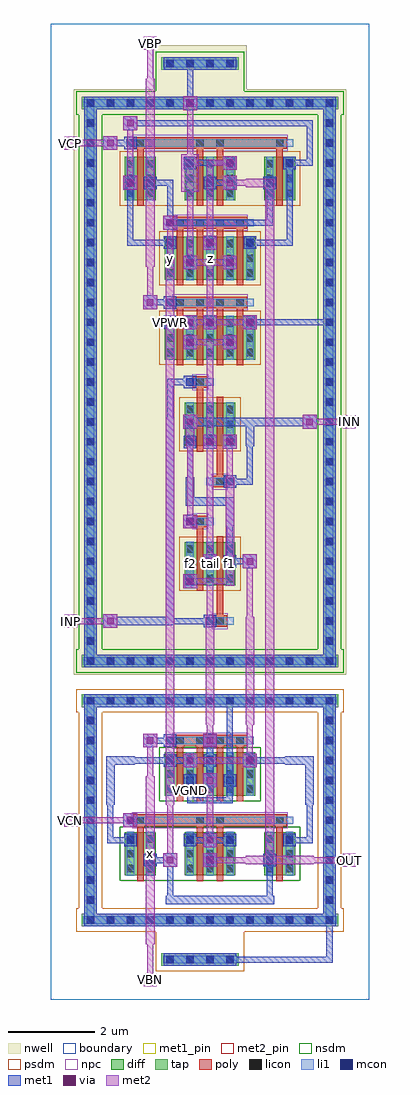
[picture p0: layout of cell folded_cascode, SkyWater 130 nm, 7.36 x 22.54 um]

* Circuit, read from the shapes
.subckt folded_cascode INN INP OUT VBN VBP VCN VCP VGND VPWR f1 f2 tail x y z
XM1 x VCN f1 VGND sky130_fd_pr__nfet_01v8 w=1 l=0.15 m=2
XM2 VGND VBN f1 VGND sky130_fd_pr__nfet_01v8 w=1 l=0.15 m=2
XM3 OUT VCN f2 VGND sky130_fd_pr__nfet_01v8 w=1 l=0.15 m=2
XM4 f2 VBN VGND VGND sky130_fd_pr__nfet_01v8 w=1 l=0.15 m=2
XM5 x VCP y VPWR sky130_fd_pr__pfet_01v8 w=1 l=0.15 m=2
XM6 tail VBP VPWR VPWR sky130_fd_pr__pfet_01v8 w=1 l=0.15 m=4
XM7 VPWR x y VPWR sky130_fd_pr__pfet_01v8 w=1 l=0.15 m=2
XM8 tail INN f2 VPWR sky130_fd_pr__pfet_01v8 w=1 l=0.15 m=2
XM9 tail INP f1 VPWR sky130_fd_pr__pfet_01v8 w=1 l=0.15 m=2
XM10 z x VPWR VPWR sky130_fd_pr__pfet_01v8 w=1 l=0.15 m=2
XM11 OUT VCP z VPWR sky130_fd_pr__pfet_01v8 w=1 l=0.15 m=2
.ends

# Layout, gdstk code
import gdstk
lib = gdstk.Library(unit=1e-6, precision=1e-09)
def R(c, l, rs):  # rectangles x0, y0, x1, y1
    for r in rs: c.add(gdstk.rectangle(r[:2], r[2:], *l))
def A(c, l, x, y, w, h, nx, ny, dx, dy):  # array of equal rectangles
    R(c, l, [(x+i*dx, y+j*dy, x+i*dx+w, y+j*dy+h) for i in range(nx) for j in range(ny)])
nwell = (64, 20)
diff = (65, 20)
tap = (65, 44)
poly = (66, 20)
licon = (66, 44)
li1 = (67, 20)
mcon = (67, 44)
met1_pin = (68, 16)
met1 = (68, 20)
via = (68, 44)
met2_pin = (69, 16)
met2 = (69, 20)
nsdm = (93, 44)
psdm = (94, 20)
npc = (95, 20)
boundary = (235, 4)

folded_cascode = lib.new_cell('folded_cascode')
R(folded_cascode, nwell, [(0.535,7.495,6.825,21.025), (2.375,21.025,4.525,22.04)])
R(folded_cascode, diff, [(1.715,2.865,2.425,3.865), (3.095,2.865,4.265,3.865), (4.935,2.865,5.645,3.865), (2.635,4.705,4.725,5.705), (3.095,9.565,4.265,10.565), (3.095,12.785,4.265,13.785), (2.635,14.78,4.725,15.78), (2.635,16.62,4.725,17.62), (1.715,18.46,2.425,19.46), (3.095,18.46,4.265,19.46), (4.935,18.46,5.645,19.46)])
R(folded_cascode, tap, [(2.555,0.775,4.345,1.065), (0.715,1.695,6.645,1.985), (0.775,1.695,1.065,7.045), (6.295,1.695,6.585,7.045), (0.715,6.755,6.645,7.045), (0.715,7.675,6.645,7.965), (0.775,7.675,1.065,20.845), (6.295,7.675,6.585,20.845), (0.715,20.555,6.645,20.845), (2.555,21.475,4.345,21.765)])
A(folded_cascode, poly, 2.915, 4.575, 0.15, 1.405, 4, 1, 0.46, 0)
A(folded_cascode, poly, 2.915, 14.65, 0.15, 1.45, 4, 2, 0.46, 1.84)
R(folded_cascode, poly, [(1.995,2.735,2.145,4.14), (3.375,2.735,3.525,4.14), (3.835,2.735,3.985,4.14), (5.215,2.735,5.365,4.14), (1.905,4.005,5.455,4.275), (2.825,5.845,4.535,6.115), (3.745,8.605,4.075,8.875), (3.835,8.74,3.985,10.695), (3.375,9.435,3.525,11.04), (3.285,10.905,3.615,11.175), (3.745,11.825,4.075,12.095), (3.835,11.96,3.985,13.915), (3.375,12.655,3.525,14.26), (3.285,14.125,3.615,14.395), (2.825,15.965,4.535,16.235), (2.825,17.805,4.535,18.075), (1.995,18.33,2.145,19.78), (3.375,18.33,3.525,19.78), (3.835,18.33,3.985,19.78), (5.215,18.33,5.365,19.78), (1.905,19.645,5.455,19.915)])
A(folded_cascode, licon, 2.675, 0.835, 0.17, 0.17, 4, 2, 0.46, 20.7)
A(folded_cascode, licon, 0.835, 1.755, 0.17, 0.17, 13, 2, 0.46, 5.06)
A(folded_cascode, licon, 0.835, 2.215, 0.17, 0.17, 1, 10, 0, 0.46)
A(folded_cascode, licon, 6.355, 2.215, 0.17, 0.17, 1, 10, 0, 0.46)
A(folded_cascode, licon, 1.755, 2.94, 0.17, 0.17, 1, 3, 0, 0.34)
A(folded_cascode, licon, 2.215, 2.94, 0.17, 0.17, 1, 3, 0, 0.34)
A(folded_cascode, licon, 3.135, 2.94, 0.17, 0.17, 3, 3, 0.46, 0.34)
A(folded_cascode, licon, 4.975, 2.94, 0.17, 0.17, 1, 3, 0, 0.34)
A(folded_cascode, licon, 5.435, 2.94, 0.17, 0.17, 1, 3, 0, 0.34)
A(folded_cascode, licon, 2.675, 4.78, 0.17, 0.17, 5, 3, 0.46, 0.34)
A(folded_cascode, licon, 2.905, 5.895, 0.17, 0.17, 4, 2, 0.46, 10.12)
A(folded_cascode, licon, 0.835, 7.735, 0.17, 0.17, 13, 2, 0.46, 12.88)
A(folded_cascode, licon, 0.835, 8.195, 0.17, 0.17, 1, 27, 0, 0.46)
A(folded_cascode, licon, 6.355, 8.195, 0.17, 0.17, 1, 27, 0, 0.46)
A(folded_cascode, licon, 3.135, 9.64, 0.17, 0.17, 3, 3, 0.46, 0.34)
A(folded_cascode, licon, 3.135, 12.86, 0.17, 0.17, 3, 3, 0.46, 0.34)
A(folded_cascode, licon, 2.675, 14.855, 0.17, 0.17, 5, 3, 0.46, 0.34)
A(folded_cascode, licon, 2.675, 16.695, 0.17, 0.17, 5, 3, 0.46, 0.34)
A(folded_cascode, licon, 2.905, 17.855, 0.17, 0.17, 4, 1, 0.46, 0)
A(folded_cascode, licon, 1.755, 18.535, 0.17, 0.17, 1, 3, 0, 0.34)
A(folded_cascode, licon, 2.215, 18.535, 0.17, 0.17, 1, 3, 0, 0.34)
A(folded_cascode, licon, 3.135, 18.535, 0.17, 0.17, 3, 3, 0.46, 0.34)
A(folded_cascode, licon, 4.975, 18.535, 0.17, 0.17, 1, 3, 0, 0.34)
A(folded_cascode, licon, 5.435, 18.535, 0.17, 0.17, 1, 3, 0, 0.34)
R(folded_cascode, licon, [(1.985,4.055,2.155,4.225), (3.365,4.055,3.535,4.225), (3.825,4.055,3.995,4.225), (5.205,4.055,5.375,4.225), (3.825,8.655,3.995,8.825), (3.365,10.955,3.535,11.125), (3.825,11.875,3.995,12.045), (3.365,14.175,3.535,14.345), (1.985,19.695,2.155,19.865), (3.365,19.695,3.535,19.865), (3.825,19.695,3.995,19.865), (5.205,19.695,5.375,19.865)])
A(folded_cascode, li1, 3.135, 2.86, 0.17, 1.01, 3, 2, 0.46, 6.7)
A(folded_cascode, li1, 2.675, 4.7, 0.17, 1.01, 5, 2, 0.46, 10.075)
A(folded_cascode, li1, 3.135, 12.78, 0.17, 1.01, 3, 2, 0.46, 5.675)
A(folded_cascode, li1, 2.675, 16.615, 0.17, 1.01, 5, 1, 0.46, 0)
R(folded_cascode, li1, [(2.595,0.835,4.305,1.005), (0.755,1.755,6.605,1.925), (0.835,1.755,1.005,6.985), (6.355,1.755,6.525,6.985), (1.755,2.86,1.925,3.87), (2.215,2.86,2.385,3.87), (4.975,2.86,5.145,3.87), (5.435,2.86,5.605,3.87), (1.755,4.055,5.605,4.225), (2.675,5.895,4.685,6.065), (0.755,6.815,6.605,6.985), (0.755,7.735,6.605,7.905), (0.835,7.735,1.005,20.785), (6.355,7.735,6.525,20.785), (3.595,8.655,4.225,8.825), (3.135,10.955,3.765,11.125), (3.595,11.875,4.225,12.045), (3.135,14.175,3.765,14.345), (2.675,16.015,4.685,16.185), (2.675,17.855,4.685,18.025), (1.755,18.455,1.925,19.465), (2.215,18.455,2.385,19.465), (4.975,18.455,5.145,19.465), (5.435,18.455,5.605,19.465), (1.755,19.695,5.605,19.865), (0.755,20.615,6.605,20.785), (2.595,21.535,4.305,21.705)])
A(folded_cascode, mcon, 2.675, 0.835, 0.17, 0.17, 4, 2, 0.46, 20.7)
A(folded_cascode, mcon, 0.835, 1.755, 0.17, 0.17, 13, 2, 0.46, 5.06)
A(folded_cascode, mcon, 0.835, 3.135, 0.17, 0.17, 5, 1, 1.38, 0)
A(folded_cascode, mcon, 0.835, 3.595, 0.17, 0.17, 1, 7, 0, 0.46)
A(folded_cascode, mcon, 6.355, 3.595, 0.17, 0.17, 1, 7, 0, 0.46)
A(folded_cascode, mcon, 2.675, 5.435, 0.17, 0.17, 3, 2, 0.92, 10.12)
A(folded_cascode, mcon, 0.835, 7.735, 0.17, 0.17, 13, 2, 0.46, 12.88)
A(folded_cascode, mcon, 0.835, 8.655, 0.17, 0.17, 3, 1, 2.76, 0)
A(folded_cascode, mcon, 0.835, 9.115, 0.17, 0.17, 1, 25, 0, 0.46)
A(folded_cascode, mcon, 6.355, 9.115, 0.17, 0.17, 1, 21, 0, 0.46)
A(folded_cascode, mcon, 3.135, 12.795, 0.17, 0.17, 3, 1, 0.46, 0)
A(folded_cascode, mcon, 2.675, 17.395, 0.17, 0.17, 3, 1, 0.92, 0)
A(folded_cascode, mcon, 2.215, 18.775, 0.17, 0.17, 4, 1, 1.38, 0)
A(folded_cascode, mcon, 6.355, 19.235, 0.17, 0.17, 1, 3, 0, 0.46)
R(folded_cascode, mcon, [(0.835,2.215,1.005,2.385), (6.355,2.215,6.525,2.385), (0.835,2.675,1.005,2.845), (6.355,2.675,6.525,2.845), (1.755,3.595,1.925,3.765), (3.135,3.595,3.305,3.765), (4.055,3.595,4.225,3.765), (5.435,3.595,5.605,3.765), (1.755,4.055,1.925,4.225), (3.135,4.975,3.305,5.145), (4.055,4.975,4.225,5.145), (2.675,5.895,2.845,6.065), (0.835,8.195,1.005,8.365), (6.355,8.195,6.525,8.365), (3.135,9.575,3.305,9.745), (3.595,10.035,3.765,10.205), (4.055,10.035,4.225,10.205), (3.135,10.955,3.305,11.125), (4.055,11.875,4.225,12.045), (3.135,14.175,3.305,14.345), (3.135,15.095,3.305,15.265), (4.055,15.095,4.225,15.265), (2.675,16.015,2.845,16.185), (3.135,16.935,3.305,17.105), (4.055,16.935,4.225,17.105), (2.675,17.855,2.845,18.025), (1.755,18.775,1.925,18.945), (3.135,19.235,3.305,19.405), (4.055,19.235,4.225,19.405), (5.435,19.235,5.605,19.405), (1.755,19.695,1.925,19.865)])
R(folded_cascode, met1_pin, [(3.15,4.53,3.29,5.13), (2.615,15.495,2.905,15.785)])
A(folded_cascode, met1, 2.155, 3.075, 0.29, 0.29, 3, 2, 1.38, 15.64)
A(folded_cascode, met1, 2.615, 5.375, 0.29, 0.29, 3, 2, 0.92, 10.12)
A(folded_cascode, met1, 3.52, 9.96, 0.32, 0.32, 1, 3, 0, 2.76)
A(folded_cascode, met1, 3.075, 12.735, 0.29, 0.29, 3, 1, 0.46, 0)
A(folded_cascode, met1, 3.98, 15.02, 0.32, 0.32, 1, 3, 0, 1.84)
A(folded_cascode, met1, 2.615, 17.335, 0.29, 0.29, 3, 1, 0.92, 0)
R(folded_cascode, met1, [(2.615,0.775,4.285,1.065), (4.07,0.85,6.51,0.99), (4.07,0.85,4.21,0.99), (6.37,0.85,6.51,6.97), (0.775,1.695,6.585,1.985), (0.775,1.695,1.065,7.045), (6.295,1.695,6.585,7.045), (2.66,2.2,5.16,2.4), (2.69,2.23,2.83,3.29), (4.99,2.23,5.13,3.29), (2.6,3.06,2.92,3.38), (3.52,3.06,3.84,3.38), (2.23,3.15,2.83,3.29), (3.52,3.52,3.84,3.84), (1.695,3.535,1.985,3.825), (3.075,3.535,3.365,3.825), (3.995,3.535,4.285,3.825), (5.375,3.535,5.665,3.825), (1.31,3.61,1.91,3.75), (1.31,3.61,1.45,4.67), (3.15,3.61,3.75,3.75), (3.61,3.61,4.21,3.75), (5.45,3.61,6.05,3.75), (5.91,3.61,6.05,4.67), (1.68,3.98,2,4.3), (1.695,3.995,1.985,4.285), (1.28,4.5,1.48,5.62), (5.88,4.5,6.08,5.62), (3.15,4.53,3.29,5.13), (3.15,4.53,4.21,4.67), (4.07,4.53,4.21,5.13), (3.52,4.9,3.84,5.22), (3.075,4.915,3.365,5.205), (3.995,4.915,4.285,5.205), (3.61,4.99,3.75,5.59), (4.07,4.99,4.21,6.97), (3.06,5.36,3.38,5.68), (4.44,5.36,4.76,5.68), (1.28,5.42,1.94,5.62), (5.42,5.42,6.08,5.62), (1.77,5.45,2.83,5.59), (2.69,5.45,3.29,5.59), (3.61,5.45,3.75,6.05), (4.53,5.45,5.59,5.59), (2.14,5.82,2.46,6.14), (3.52,5.82,3.84,6.14), (2.615,5.835,2.905,6.125), (2.23,5.91,2.83,6.05), (0.775,6.755,6.585,7.045), (4.07,6.83,6.51,6.97), (4.07,6.83,4.21,6.97), (6.37,6.83,6.51,6.97), (0.775,7.675,6.585,7.965), (0.775,7.675,1.065,20.845), (6.295,7.675,6.585,20.845), (1.22,8.58,1.54,8.9), (3.535,8.595,3.825,8.885), (1.28,8.64,2.86,8.84), (2.66,8.64,2.86,13.44), (2.69,8.67,3.75,8.81), (3.06,9.5,3.38,9.82), (3.075,9.515,3.365,9.805), (4.44,9.96,4.76,10.28), (3.535,9.975,3.825,10.265), (3.995,9.975,4.285,10.265), (4.07,10.05,4.67,10.19), (4.07,10.05,4.21,11.11), (3.06,10.88,3.38,11.2), (3.075,10.895,3.365,11.185), (4.04,10.94,4.24,11.6), (3.12,11.4,3.32,12.06), (3.12,11.4,4.24,11.6), (3.995,11.815,4.285,12.105), (3.15,11.89,3.29,12.95), (4.07,11.89,4.67,12.03), (4.53,11.89,4.67,12.95), (3.98,12.72,4.3,13.04), (4.5,12.78,4.7,13.44), (3.06,13.18,3.38,13.5), (5.82,13.18,6.14,13.5), (3.12,13.24,4.7,13.44), (4.5,13.24,6.08,13.44), (2.69,13.27,2.83,14.33), (3.075,14.115,3.365,14.405), (2.69,14.19,3.29,14.33), (3.06,15.02,3.38,15.34), (3.075,15.035,3.365,15.325), (3.995,15.035,4.285,15.325), (3.06,15.48,3.38,15.8), (4.44,15.48,4.76,15.8), (2.69,15.57,3.29,15.71), (4.53,15.57,6.51,15.71), (6.37,15.57,6.51,15.71), (2.14,15.94,2.46,16.26), (2.615,15.955,2.905,16.245), (2.23,16.03,2.83,16.17), (3.06,16.86,3.38,17.18), (3.075,16.875,3.365,17.165), (3.995,16.875,4.285,17.165), (3.52,17.32,3.84,17.64), (1.77,17.41,2.83,17.55), (1.77,17.41,1.91,18.93), (4.53,17.41,5.59,17.55), (5.45,17.41,5.59,19.39), (2.6,17.78,2.92,18.1), (2.615,17.795,2.905,18.085), (2.69,17.87,5.13,18.01), (2.69,17.87,2.83,18.93), (4.99,17.87,5.13,18.93), (1.68,18.7,2,19.02), (1.695,18.715,1.985,19.005), (2.23,18.79,2.83,18.93), (3.61,18.79,4.21,18.93), (3.98,19.16,4.3,19.48), (3.075,19.175,3.365,19.465), (3.995,19.175,4.285,19.465), (5.375,19.175,5.665,19.465), (3.15,19.25,4.21,19.39), (5.45,19.25,6.05,19.39), (5.91,19.25,6.05,20.31), (1.22,19.62,1.54,19.94), (1.695,19.635,1.985,19.925), (1.31,19.71,1.91,19.85), (1.68,20.08,2,20.4), (1.77,20.17,6.05,20.31), (3.06,20.54,3.38,20.86), (0.775,20.555,6.585,20.845), (3.15,20.63,3.29,21.69), (3.15,20.63,3.29,20.77), (2.615,21.475,4.285,21.765), (3.15,21.55,3.29,21.69)])
A(folded_cascode, via, 3.605, 10.045, 0.15, 0.15, 1, 3, 0, 2.76)
A(folded_cascode, via, 4.065, 15.105, 0.15, 0.15, 1, 3, 0, 1.84)
R(folded_cascode, via, [(2.685,3.145,2.835,3.295), (3.605,3.145,3.755,3.295), (3.605,3.605,3.755,3.755), (1.765,4.065,1.915,4.215), (3.605,4.985,3.755,5.135), (3.145,5.445,3.295,5.595), (4.525,5.445,4.675,5.595), (2.225,5.905,2.375,6.055), (3.605,5.905,3.755,6.055), (1.305,8.665,1.455,8.815), (3.145,9.585,3.295,9.735), (4.525,10.045,4.675,10.195), (3.145,10.965,3.295,11.115), (4.065,12.805,4.215,12.955), (3.145,13.265,3.295,13.415), (5.905,13.265,6.055,13.415), (3.145,15.105,3.295,15.255), (3.145,15.565,3.295,15.715), (4.525,15.565,4.675,15.715), (2.225,16.025,2.375,16.175), (3.145,16.945,3.295,17.095), (3.605,17.405,3.755,17.555), (2.685,17.865,2.835,18.015), (1.765,18.785,1.915,18.935), (4.065,19.245,4.215,19.395), (1.305,19.705,1.455,19.855), (1.765,20.165,1.915,20.315), (3.145,20.625,3.295,20.775)])
R(folded_cascode, met2_pin, [(2.15,0.31,2.45,0.61), (6.75,3.07,7.05,3.37), (0.31,3.99,0.61,4.29), (0.31,8.59,0.61,8.89), (6.75,13.19,7.05,13.49), (0.31,19.63,0.61,19.93), (2.15,21.93,2.45,22.23)])
A(folded_cascode, met2, 3.52, 9.96, 0.32, 0.32, 1, 3, 0, 2.76)
A(folded_cascode, met2, 3.98, 15.02, 0.32, 0.32, 1, 3, 0, 1.84)
R(folded_cascode, met2, [(2.15,0.31,2.45,0.61), (2.23,0.39,2.37,1.45), (2.23,0.39,2.37,0.53), (2.2,1.28,2.4,5.16), (2.6,3.06,2.92,3.38), (3.52,3.06,3.84,3.38), (6.75,3.07,7.05,3.37), (4.5,3.12,6.08,3.32), (4.96,3.12,5.16,18.96), (2.69,3.15,2.83,4.67), (3.61,3.15,4.67,3.29), (5.91,3.15,6.97,3.29), (6.83,3.15,6.97,3.29), (3.52,3.52,3.84,3.84), (3.61,3.61,3.75,5.13), (1.68,3.98,2,4.3), (0.31,3.99,0.61,4.29), (0.39,4.07,1.91,4.21), (0.39,4.07,0.53,4.21), (2.66,4.5,2.86,17.12), (3.52,4.9,3.84,5.22), (2.23,4.99,2.37,6.05), (3.06,5.36,3.38,5.68), (4.44,5.36,4.76,5.68), (3.15,5.45,4.67,5.59), (4.53,5.45,4.67,6.51), (2.14,5.82,2.46,6.14), (3.52,5.82,3.84,6.14), (3.61,5.91,3.75,6.51), (3.58,6.34,3.78,8.84), (4.5,6.34,4.7,8.84), (1.22,8.58,1.54,8.9), (0.31,8.59,0.61,8.89), (0.39,8.67,1.45,8.81), (0.39,8.67,0.53,8.81), (3.61,8.67,3.75,9.73), (4.53,8.67,4.67,10.19), (3.06,9.5,3.38,9.82), (4.04,9.56,4.24,12.06), (3.15,9.59,4.21,9.73), (4.44,9.96,4.76,10.28), (3.61,10.05,3.75,12.95), (3.06,10.88,3.38,11.2), (3.15,10.97,3.29,12.95), (4.07,11.89,4.21,12.95), (3.98,12.72,4.3,13.04), (3.12,12.78,3.32,13.44), (3.61,12.81,3.75,15.25), (3.06,13.18,3.38,13.5), (5.82,13.18,6.14,13.5), (6.75,13.19,7.05,13.49), (5.91,13.27,6.97,13.41), (6.83,13.27,6.97,13.41), (3.06,15.02,3.38,15.34), (3.15,15.11,3.75,15.25), (3.61,15.11,4.21,15.25), (3.06,15.48,3.38,15.8), (4.44,15.48,4.76,15.8), (3.15,15.57,3.75,15.71), (3.61,15.57,3.75,17.09), (3.61,15.57,4.67,15.71), (2.14,15.94,2.46,16.26), (2.23,16.03,2.37,17.09), (3.06,16.86,3.38,17.18), (2.2,16.92,2.4,21.26), (2.69,16.95,2.83,18.01), (3.15,16.95,4.21,17.09), (3.15,16.95,3.29,18.93), (3.52,17.32,3.84,17.64), (3.61,17.41,3.75,19.39), (2.6,17.78,2.92,18.1), (3.02,18.66,3.42,19.52), (1.68,18.7,2,19.02), (4.5,18.76,5.16,18.96), (1.77,18.79,1.91,20.31), (4.07,18.79,4.67,18.93), (3.98,19.16,4.3,19.48), (3.15,19.25,3.29,20.77), (3.61,19.25,4.21,19.39), (1.22,19.62,1.54,19.94), (0.31,19.63,0.61,19.93), (0.39,19.71,1.45,19.85), (0.39,19.71,0.53,19.85), (1.68,20.08,2,20.4), (3.06,20.54,3.38,20.86), (2.23,21.09,2.37,22.15), (2.15,21.93,2.45,22.23), (2.23,22.01,2.37,22.15)])
R(folded_cascode, nsdm, [(1.59,2.74,5.77,3.99), (2.51,4.58,4.85,5.83), (0.59,7.55,6.77,8.09), (0.65,8.09,1.19,20.43), (6.17,8.09,6.71,20.43), (0.59,20.43,6.77,20.97), (2.43,20.97,4.47,21.89)])
R(folded_cascode, psdm, [(2.43,0.65,4.47,1.57), (0.59,1.57,6.77,2.11), (0.65,2.11,1.19,6.63), (6.17,2.11,6.71,6.63), (0.59,6.63,6.77,7.17), (2.97,9.44,4.39,10.69), (2.97,12.66,4.39,13.91), (2.51,14.655,4.85,15.905), (2.51,16.495,4.85,17.745), (1.59,18.335,5.77,19.585)])
R(folded_cascode, npc, [(1.885,3.955,5.475,4.325), (2.805,5.795,4.555,6.165), (3.725,8.555,4.095,8.925), (3.265,10.855,3.635,11.225), (3.725,11.775,4.095,12.145), (3.265,14.075,3.635,14.445), (2.805,15.915,4.555,16.285), (2.805,17.755,4.555,18.125), (1.885,19.595,5.475,19.965)])
R(folded_cascode, boundary, [(0,0,7.36,22.54)])
folded_cascode.add(gdstk.Label('f2', (3.22,10.065), layer=67, texttype=5))
folded_cascode.add(gdstk.Label('tail', (3.68,10.065), layer=67, texttype=5))
folded_cascode.add(gdstk.Label('f1', (4.14,10.065), layer=67, texttype=5))
folded_cascode.add(gdstk.Label('x', (2.3,3.365), layer=67, texttype=5))
folded_cascode.add(gdstk.Label('y', (2.76,17.12), layer=67, texttype=5))
folded_cascode.add(gdstk.Label('z', (3.68,17.12), layer=67, texttype=5))
folded_cascode.add(gdstk.Label('VPWR', (2.76,15.64), layer=68, texttype=5))
folded_cascode.add(gdstk.Label('VGND', (3.22,4.83), layer=68, texttype=5))
folded_cascode.add(gdstk.Label('INP', (0.46,8.74), layer=69, texttype=5))
folded_cascode.add(gdstk.Label('INN', (6.9,13.34), layer=69, texttype=5))
folded_cascode.add(gdstk.Label('VBP', (2.3,22.08), layer=69, texttype=5))
folded_cascode.add(gdstk.Label('VBN', (2.3,0.46), layer=69, texttype=5))
folded_cascode.add(gdstk.Label('VCN', (0.46,4.14), layer=69, texttype=5))
folded_cascode.add(gdstk.Label('VCP', (0.46,19.78), layer=69, texttype=5))
folded_cascode.add(gdstk.Label('OUT', (6.9,3.22), layer=69, texttype=5))
folded_cascode.add(gdstk.Label('VPWR', (2.76,15.64), layer=68, texttype=16))
folded_cascode.add(gdstk.Label('VGND', (3.22,4.83), layer=68, texttype=16))
folded_cascode.add(gdstk.Label('INP', (0.46,8.74), layer=69, texttype=16))
folded_cascode.add(gdstk.Label('INN', (6.9,13.34), layer=69, texttype=16))
folded_cascode.add(gdstk.Label('VBP', (2.3,22.08), layer=69, texttype=16))
folded_cascode.add(gdstk.Label('VBN', (2.3,0.46), layer=69, texttype=16))
folded_cascode.add(gdstk.Label('VCN', (0.46,4.14), layer=69, texttype=16))
folded_cascode.add(gdstk.Label('VCP', (0.46,19.78), layer=69, texttype=16))
folded_cascode.add(gdstk.Label('OUT', (6.9,3.22), layer=69, texttype=16))

lib.write_gds('folded_cascode.gds')
